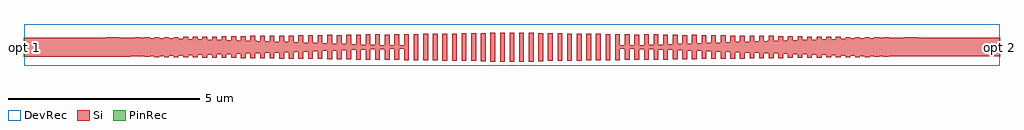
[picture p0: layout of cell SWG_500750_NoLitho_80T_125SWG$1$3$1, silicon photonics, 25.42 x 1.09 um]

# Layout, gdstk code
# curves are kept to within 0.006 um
import gdstk
lib = gdstk.Library(unit=1e-6, precision=1e-09)
def R(c, l, rs):  # rectangles x0, y0, x1, y1
    for r in rs: c.add(gdstk.rectangle(r[:2], r[2:], *l))
def P(c, l, *ps):  # polygons
    for p in ps: c.add(gdstk.Polygon(p, *l))
Si = (1, 0)
PinRec = (1, 10)
DevRec = (68, 0)

swg_500750_nolitho_80t_1 = lib.new_cell('SWG_500750_NoLitho_80T_125SWG$1$3$1')
R(swg_500750_nolitho_80t_1, Si, [(12.148,0.115,12.272,0.865), (12.398,0.115,12.523,0.865), (11.898,0.127,12.023,0.853), (13.397,0.127,13.522,0.853), (11.648,0.129,11.773,0.851), (13.647,0.129,13.772,0.851), (11.398,0.134,11.523,0.846), (13.897,0.134,14.022,0.846), (10.898,0.137,11.023,0.843), (11.148,0.137,11.273,0.843), (14.147,0.137,14.272,0.843), (14.397,0.137,14.522,0.843), (10.398,0.143,10.523,0.837), (10.648,0.143,10.773,0.837), (14.647,0.143,14.772,0.837), (14.897,0.143,15.022,0.837), (10.148,0.149,10.273,0.831), (15.147,0.149,15.272,0.831)])
P(swg_500750_nolitho_80t_1, Si, [(9.898,0.15),(9.898,0.445),(9.772,0.444),(9.772,0.156),(9.648,0.156),(9.648,0.443),(9.522,0.44),(9.522,0.162),(9.398,0.162),(9.398,0.438),(9.272,0.435),(9.272,0.158),(9.148,0.158),(9.148,0.431),(9.022,0.428),(9.022,0.161),(8.898,0.161),(8.898,0.425),(8.772,0.421),(8.772,0.166),(8.647,0.166),(8.647,0.417),(8.522,0.412),(8.522,0.17),(8.398,0.17),(8.398,0.408),(8.272,0.404),(8.272,0.176),(8.148,0.176),(8.148,0.4),(8.023,0.396),(8.023,0.173),(7.898,0.173),(7.898,0.391),(7.772,0.387),(7.772,0.181),(7.648,0.181),(7.648,0.382),(7.522,0.377),(7.522,0.184),(7.398,0.184),(7.398,0.373),(7.272,0.368),(7.272,0.184),(7.147,0.184),(7.147,0.364),(7.022,0.359),(7.022,0.189),(6.898,0.189),(6.898,0.355),(6.772,0.352),(6.772,0.192),(6.647,0.192),(6.647,0.347),(6.522,0.343),(6.522,0.194),(6.398,0.194),(6.398,0.339),(6.272,0.336),(6.272,0.198),(6.147,0.198),(6.147,0.332),(6.022,0.329),(6.022,0.194),(5.898,0.194),(5.898,0.325),(5.772,0.321),(5.772,0.203),(5.647,0.203),(5.647,0.318),(5.522,0.314),(5.522,0.212),(5.397,0.212),(5.397,0.31),(5.272,0.307),(5.272,0.211),(5.147,0.211),(5.147,0.303),(5.022,0.299),(5.022,0.214),(4.897,0.214),(4.897,0.295),(4.772,0.291),(4.772,0.216),(4.647,0.216),(4.647,0.288),(4.522,0.284),(4.522,0.22),(4.398,0.22),(4.398,0.28),(4.272,0.276),(4.272,0.223),(4.148,0.223),(4.148,0.272),(4.022,0.268),(4.022,0.227),(3.898,0.227),(3.898,0.265),(3.773,0.262),(3.773,0.227),(3.648,0.227),(3.648,0.259),(3.523,0.256),(3.523,0.232),(3.398,0.232),(3.398,0.253),(3.273,0.25),(3.273,0.235),(3.148,0.235),(3.148,0.247),(3.023,0.245),(3.023,0.238),(0.01,0.24),(0.01,0.74),(3.023,0.742),(3.023,0.735),(3.148,0.733),(3.148,0.745),(3.273,0.745),(3.273,0.73),(3.398,0.727),(3.398,0.748),(3.523,0.748),(3.523,0.724),(3.648,0.721),(3.648,0.753),(3.773,0.753),(3.773,0.718),(3.898,0.715),(3.898,0.753),(4.022,0.753),(4.022,0.712),(4.148,0.708),(4.148,0.757),(4.272,0.757),(4.272,0.704),(4.398,0.7),(4.398,0.76),(4.522,0.76),(4.522,0.696),(4.647,0.692),(4.647,0.764),(4.772,0.764),(4.772,0.689),(4.897,0.685),(4.897,0.766),(5.022,0.766),(5.022,0.681),(5.147,0.677),(5.147,0.769),(5.272,0.769),(5.272,0.673),(5.397,0.67),(5.397,0.768),(5.522,0.768),(5.522,0.666),(5.647,0.662),(5.647,0.777),(5.772,0.777),(5.772,0.659),(5.898,0.655),(5.898,0.786),(6.022,0.786),(6.022,0.651),(6.147,0.648),(6.147,0.782),(6.272,0.782),(6.272,0.644),(6.398,0.641),(6.398,0.786),(6.522,0.786),(6.522,0.637),(6.647,0.633),(6.647,0.788),(6.772,0.788),(6.772,0.628),(6.898,0.625),(6.898,0.791),(7.022,0.791),(7.022,0.621),(7.147,0.616),(7.147,0.796),(7.272,0.796),(7.272,0.612),(7.398,0.607),(7.398,0.796),(7.522,0.796),(7.522,0.603),(7.648,0.598),(7.648,0.799),(7.772,0.799),(7.772,0.593),(7.898,0.589),(7.898,0.807),(8.023,0.807),(8.023,0.584),(8.148,0.58),(8.148,0.804),(8.272,0.804),(8.272,0.576),(8.398,0.572),(8.398,0.81),(8.522,0.81),(8.522,0.568),(8.647,0.563),(8.647,0.814),(8.772,0.814),(8.772,0.559),(8.898,0.555),(8.898,0.819),(9.022,0.819),(9.022,0.552),(9.148,0.549),(9.148,0.822),(9.272,0.822),(9.272,0.545),(9.398,0.542),(9.398,0.818),(9.522,0.818),(9.522,0.54),(9.648,0.537),(9.648,0.824),(9.772,0.824),(9.772,0.536),(9.898,0.535),(9.898,0.83),(10.023,0.83),(10.023,0.15)],
  [(15.397,0.15),(15.397,0.83),(15.522,0.83),(15.522,0.535),(15.648,0.536),(15.648,0.824),(15.772,0.824),(15.772,0.537),(15.898,0.54),(15.898,0.818),(16.022,0.818),(16.022,0.542),(16.148,0.545),(16.148,0.822),(16.272,0.822),(16.272,0.549),(16.398,0.552),(16.398,0.819),(16.522,0.819),(16.522,0.555),(16.648,0.559),(16.648,0.814),(16.773,0.814),(16.773,0.563),(16.898,0.568),(16.898,0.81),(17.022,0.81),(17.022,0.572),(17.148,0.576),(17.148,0.804),(17.272,0.804),(17.272,0.58),(17.397,0.584),(17.397,0.807),(17.522,0.807),(17.522,0.589),(17.648,0.593),(17.648,0.799),(17.772,0.799),(17.772,0.598),(17.898,0.603),(17.898,0.796),(18.022,0.796),(18.022,0.607),(18.148,0.612),(18.148,0.796),(18.273,0.796),(18.273,0.616),(18.398,0.621),(18.398,0.791),(18.522,0.791),(18.522,0.625),(18.648,0.628),(18.648,0.788),(18.773,0.788),(18.773,0.633),(18.898,0.637),(18.898,0.786),(19.022,0.786),(19.022,0.641),(19.148,0.644),(19.148,0.782),(19.273,0.782),(19.273,0.648),(19.398,0.651),(19.398,0.786),(19.522,0.786),(19.522,0.655),(19.648,0.659),(19.648,0.777),(19.773,0.777),(19.773,0.662),(19.898,0.666),(19.898,0.768),(20.023,0.768),(20.023,0.67),(20.148,0.673),(20.148,0.769),(20.273,0.769),(20.273,0.677),(20.398,0.681),(20.398,0.766),(20.523,0.766),(20.523,0.685),(20.648,0.689),(20.648,0.764),(20.773,0.764),(20.773,0.692),(20.898,0.696),(20.898,0.76),(21.022,0.76),(21.022,0.7),(21.148,0.704),(21.148,0.757),(21.272,0.757),(21.272,0.708),(21.398,0.712),(21.398,0.753),(21.522,0.753),(21.522,0.715),(21.647,0.718),(21.647,0.753),(21.772,0.753),(21.772,0.721),(21.897,0.724),(21.897,0.748),(22.022,0.748),(22.022,0.727),(22.147,0.73),(22.147,0.745),(22.272,0.745),(22.272,0.733),(22.397,0.735),(22.397,0.742),(25.41,0.74),(25.41,0.24),(22.397,0.238),(22.397,0.245),(22.272,0.247),(22.272,0.235),(22.147,0.235),(22.147,0.25),(22.022,0.253),(22.022,0.232),(21.897,0.232),(21.897,0.256),(21.772,0.259),(21.772,0.227),(21.647,0.227),(21.647,0.262),(21.522,0.265),(21.522,0.227),(21.398,0.227),(21.398,0.268),(21.272,0.272),(21.272,0.223),(21.148,0.223),(21.148,0.276),(21.022,0.28),(21.022,0.22),(20.898,0.22),(20.898,0.284),(20.773,0.288),(20.773,0.216),(20.648,0.216),(20.648,0.291),(20.523,0.295),(20.523,0.214),(20.398,0.214),(20.398,0.299),(20.273,0.303),(20.273,0.211),(20.148,0.211),(20.148,0.307),(20.023,0.31),(20.023,0.212),(19.898,0.212),(19.898,0.314),(19.773,0.318),(19.773,0.203),(19.648,0.203),(19.648,0.321),(19.522,0.325),(19.522,0.194),(19.398,0.194),(19.398,0.329),(19.273,0.332),(19.273,0.198),(19.148,0.198),(19.148,0.336),(19.022,0.339),(19.022,0.194),(18.898,0.194),(18.898,0.343),(18.773,0.347),(18.773,0.192),(18.648,0.192),(18.648,0.352),(18.522,0.355),(18.522,0.189),(18.398,0.189),(18.398,0.359),(18.273,0.364),(18.273,0.184),(18.148,0.184),(18.148,0.368),(18.022,0.373),(18.022,0.184),(17.898,0.184),(17.898,0.377),(17.772,0.382),(17.772,0.181),(17.648,0.181),(17.648,0.387),(17.522,0.391),(17.522,0.173),(17.397,0.173),(17.397,0.396),(17.272,0.4),(17.272,0.176),(17.148,0.176),(17.148,0.404),(17.022,0.408),(17.022,0.17),(16.898,0.17),(16.898,0.412),(16.773,0.417),(16.773,0.166),(16.648,0.166),(16.648,0.421),(16.522,0.425),(16.522,0.161),(16.398,0.161),(16.398,0.428),(16.272,0.431),(16.272,0.158),(16.148,0.158),(16.148,0.435),(16.022,0.438),(16.022,0.162),(15.898,0.162),(15.898,0.44),(15.772,0.443),(15.772,0.156),(15.648,0.156),(15.648,0.444),(15.522,0.445),(15.522,0.15)],
  [(12.647,0.115),(12.648,0.865),(12.773,0.865),(12.772,0.115)],
  [(12.897,0.115),(12.898,0.865),(13.022,0.865),(13.022,0.115)],
  [(13.147,0.115),(13.148,0.865),(13.272,0.865),(13.272,0.115)])
R(swg_500750_nolitho_80t_1, DevRec, [(0.01,0,25.41,1.09)])
swg_500750_nolitho_80t_1.add(gdstk.FlexPath([(0.02,0.49),(0,0.49)], 0.5, ends="flush", simple_path=True, layer=1, datatype=10))  # PinRec
swg_500750_nolitho_80t_1.add(gdstk.FlexPath([(25.4,0.49),(25.42,0.49)], 0.5, ends="flush", simple_path=True, layer=1, datatype=10))  # PinRec
swg_500750_nolitho_80t_1.add(gdstk.Label('opt 1', (0.01,0.49), layer=1, texttype=10))
swg_500750_nolitho_80t_1.add(gdstk.Label('opt 2', (25.41,0.49), layer=1, texttype=10))

lib.write_gds('SWG_500750_NoLitho_80T_125SWG_1_3_1.gds')
